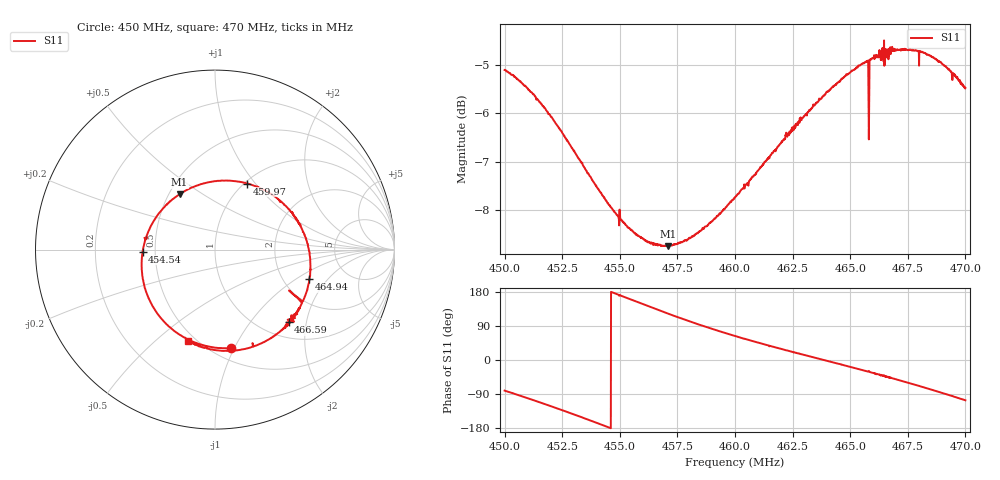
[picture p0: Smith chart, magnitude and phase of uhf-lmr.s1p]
! Calibrated averaged scanner-service zoom
# Hz S RI R 50
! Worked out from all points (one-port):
!   2001 points, 450 MHz to 470 MHz, reference 50 ohm
!   lowest |S11| = -8.7 dB at 457.08 MHz (marker M1), VSWR 2.15, Z = 28.3 + j20.1 ohm
!   |S11| at or under -10 dB: nowhere
!   S11 on the Smith chart (normalised r, x): 450 MHz: 0.61, -0.97; 454.54 MHz: 0.43, -0.01; 459.97 MHz: 1.03, +0.91; 464.94 MHz: 2.78, -1.29; 466.59 MHz: 1.31, -1.58; 470 MHz: 0.45, -0.65
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4.5e8  0.0891 -0.5483
4.5062e8  -0.0298 -0.5411
4.5123e8  -0.1409 -0.5052
4.5179e8  -0.2317 -0.4492
4.525e8  -0.323 -0.3532
4.5347e8  -0.3958 -0.1935
4.5454e8  -0.403 -0.0112
4.55e8  -0.3864 0.0613
4.5606e8  -0.3083 0.2077
4.5708e8  -0.1976 0.3078
4.575e8  -0.1454 0.3381
4.5868e8  0.00948 0.3826
4.5997e8  0.1795 0.3682
4.6e8  0.1834 0.3676
4.6123e8  0.3301 0.2976
4.625e8  0.4517 0.1752
4.6374e8  0.5187 0.0159
4.6494e8  0.5264 -0.1623
4.65e8  0.5249 -0.1716
4.6561e8  0.4989 -0.2644
4.6589e8  0.4804 -0.3057
4.6594e8  0.4773 -0.3132
4.6659e8  0.4104 -0.4039
4.675e8  0.2926 -0.5037
4.6814e8  0.1861 -0.5492
4.6871e8  0.0822 -0.5641
4.693e8  -0.0264 -0.5558
4.7e8  -0.1492 -0.511
